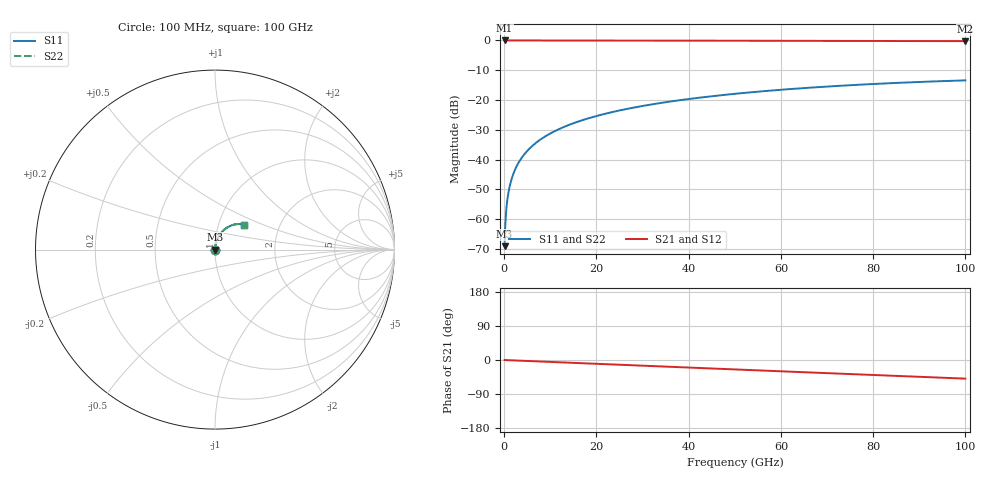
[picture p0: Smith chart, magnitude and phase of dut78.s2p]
! Touchstone file exported from HFSS 2026.1.0
!  File:  C:/ffzhzh/LocalFiles/Ansys_Project_Files/temp_train_TSV_78_1783505396_9504.aedt
!  Generated:  06:11:16 PM Jul  8, 2026
!  Design:  TSV
!  Project:  temp_train_TSV_78_1783505396_9504
! Variables:
!  h_bsmrdl = 2um
!  h_ox = 20um
!  h_rdl = 5um
!  h_sub = 93.31um
!  h_tmrdl = 5um
!  h_tsv = 93.31um
!  h_via = 3um
!  l_bsmrdl = 300um
!  l_sub = 418.76um
!  l_tmrdl = 200um
!  m_sub = 200um
!  pitch = 56.88um
!  r_tsv = 9.38um
!  s_tmrdl = 10um
!  w_bsmrdl = 18um
!  w_sub = 500um
!  w_tmrdl = 12um
!  x_tsv_center1 = 206um
!  x_tsv_center2 = 524um
!  x_tsv_center3 = 736um
!  x_tsv_center4 = 1054um
!  x_tsv_center5 = 1266um
!  x_tsv_center6 = 1584um
# GHz S MA R 50.000000
! Terminal data exported
! Port[1] = TSV1_1_T1
! Port[2] = TSV1_1_T2
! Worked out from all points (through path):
!   1000 points, 100 MHz to 100 GHz, reference 50 ohm
!   highest |S21| = 0.00 dB at 100 MHz (marker M1); lowest = -0.2 dB at 100 GHz (marker M2)
!   group delay of S21, straight-line fit = 1.37 ps
!   lowest |S11| = -69.1 dB at 100 MHz (marker M3), VSWR 1.00, Z = 50 + j0.0317 ohm
!   |S11| at or under -10 dB: start of sweep to end of sweep
!   |S22| runs from -69.1 to -13.4 dB; largest |S21 - S12| = 3.7e-15
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0.1  0.0003524 64.0  0.9998 -0.1  0.9998 -0.1  0.0003524 64.0
! Gamma 0 0 0 0
! Port Impedance 50 0 50 0
0.3  0.0009568 78.7  0.9998 -0.2  0.9998 -0.2  0.0009568 78.7
0.7  0.002135 82.3  0.9997 -0.4  0.9997 -0.4  0.002135 82.3
0.8  0.002421 82.7  0.9997 -0.4  0.9997 -0.4  0.002421 82.7
1  0.002987 83.2  0.9997 -0.5  0.9997 -0.5  0.002987 83.2
1.3  0.003828 83.7  0.9996 -0.7  0.9996 -0.7  0.003828 83.7
1.7  0.004943 84.2  0.9996 -0.9  0.9996 -0.9  0.004943 84.2
2.3  0.006605 84.5  0.9995 -1.2  0.9995 -1.2  0.006605 84.5
3  0.008529 84.7  0.9994 -1.5  0.9994 -1.5  0.008529 84.7
3.8  0.01071 84.6  0.9993 -1.9  0.9993 -1.9  0.01071 84.6
4.8  0.01343 84.5  0.9992 -2.4  0.9992 -2.4  0.01343 84.5
6  0.01668 84.2  0.9991 -3.0  0.9991 -3.0  0.01668 84.2
8.8  0.02423 83.3  0.9987 -4.4  0.9987 -4.4  0.02423 83.3
12.4  0.03385 81.8  0.9983 -6.2  0.9983 -6.2  0.03385 81.8
16.8  0.04548 79.8  0.9976 -8.5  0.9976 -8.5  0.04548 79.8
24.2  0.06473 76.4  0.9963 -12.1  0.9963 -12.1  0.06473 76.4
33.4  0.08795 72.1  0.9942 -16.7  0.9942 -16.7  0.08795 72.1
41.2  0.1069 68.3  0.9922 -20.6  0.9922 -20.6  0.1069 68.3
50.1  0.1274 64.0  0.9896 -25.0  0.9896 -25.0  0.1274 64.0
66.7  0.162 56.1  0.9842 -33.1  0.9842 -33.1  0.162 56.1
83.4  0.1913 48.1  0.9786 -41.2  0.9786 -41.2  0.1913 48.1
100  0.2138 40.2  0.9736 -49.2  0.9736 -49.2  0.2137 40.2
